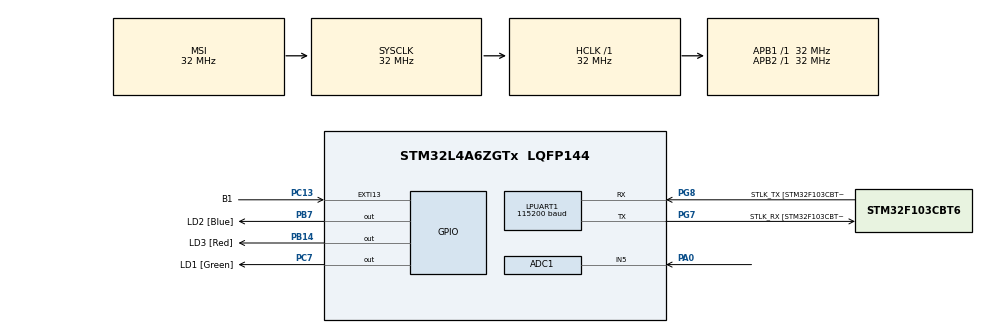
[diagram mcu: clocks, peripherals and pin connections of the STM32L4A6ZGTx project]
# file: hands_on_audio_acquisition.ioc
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LPUART1.AutoBaudRateEnableParam=UART_ADVFEATURE_AUTOBAUDRATE_DISABLE
LPUART1.BaudRate=115200
LPUART1.DMADisableonRxErrorParam=UART_ADVFEATURE_DMA_ENABLEONRXERROR
LPUART1.DataInvertParam=UART_ADVFEATURE_DATAINV_DISABLE
LPUART1.MSBFirstParam=UART_ADVFEATURE_MSBFIRST_DISABLE
LPUART1.Mode=UART_MODE_TX_RX
LPUART1.OneBitSampling=UART_ONE_BIT_SAMPLE_DISABLE
LPUART1.OverrunDisableParam=UART_ADVFEATURE_OVERRUN_ENABLE
LPUART1.Parity=UART_PARITY_NONE
LPUART1.RxPinLevelInvertParam=UART_ADVFEATURE_RXINV_DISABLE
LPUART1.StopBits=UART_STOPBITS_1
LPUART1.SwapParam=UART_ADVFEATURE_SWAP_DISABLE
LPUART1.TxPinLevelInvertParam=UART_ADVFEATURE_TXINV_DISABLE
LPUART1.WordLength=UART_WORDLENGTH_8B
Mcu.Family=STM32L4
Mcu.Name=STM32L4A6ZGTx
Mcu.Package=LQFP144
NVIC.DMA1_Channel1_IRQn=true\:0\:0\:false\:false\:true\:false\:true\:true
NVIC.EXTI15_10_IRQn=true\:0\:0\:false\:false\:true\:true\:true\:true
NVIC.PriorityGroup=NVIC_PRIORITYGROUP_4
PA0.Signal=ADCx_IN5
PA13\ (JTMS/SWDIO).GPIO_Label=TMS
PA13\ (JTMS/SWDIO).Mode=Trace_Asynchronous_SW
PA13\ (JTMS/SWDIO).Signal=SYS_JTMS-SWDIO
PA14\ (JTCK/SWCLK).GPIO_Label=TCK
PA14\ (JTCK/SWCLK).Mode=Trace_Asynchronous_SW
PA14\ (JTCK/SWCLK).Signal=SYS_JTCK-SWCLK
PB14.GPIO_Label=LD3 [Red]
PB14.Signal=GPIO_Output
PB3\ (JTDO/TRACESWO).GPIO_Label=SWO
PB3\ (JTDO/TRACESWO).Mode=Trace_Asynchronous_SW
PB3\ (JTDO/TRACESWO).Signal=SYS_JTDO-SWO
PB7.GPIO_Label=LD2 [Blue]
PB7.Signal=GPIO_Output
PC13.GPIO_Label=B1
PC13.Signal=GPXTI13
PC14-OSC32_IN\ (PC14).Mode=LSE-External-Oscillator
PC14-OSC32_IN\ (PC14).Signal=RCC_OSC32_IN
PC15-OSC32_OUT\ (PC15).Mode=LSE-External-Oscillator
PC15-OSC32_OUT\ (PC15).Signal=RCC_OSC32_OUT
PC7.GPIO_Label=LD1 [Green]
PC7.Signal=GPIO_Output
PG7.GPIO_Label=STLK_RX [STM32F103CBT6_PA3]
PG7.Mode=Asynchronous
PG7.Signal=LPUART1_TX
PG8.GPIO_Label=STLK_TX [STM32F103CBT6_PA2]
PG8.Mode=Asynchronous
PG8.Signal=LPUART1_RX
PH1-OSC_OUT\ (PH1).Signal=RCC_OSC_OUT
ProjectManager.HeapSize=0x200
ProjectManager.StackSize=0x400
ProjectManager.TargetToolchain=STM32CubeIDE
RCC.ADCCLockSelection=RCC_ADCCLKSOURCE_SYSCLK
RCC.ADCFreq_Value=32000000
RCC.AHBFreq_Value=32000000
RCC.APB1Freq_Value=32000000
RCC.APB1TimFreq_Value=32000000
RCC.APB2Freq_Value=32000000
RCC.APB2TimFreq_Value=32000000
RCC.CortexFreq_Value=32000000
RCC.FLatency=FLASH_LATENCY_1
RCC.HCLKFreq_Value=32000000
RCC.HSE_VALUE=8000000
RCC.HSI48_VALUE=48000000
RCC.HSI_VALUE=16000000
RCC.MSIClockRange=RCC_MSIRANGE_10
RCC.MSI_VALUE=32000000
RCC.PLLN=71
RCC.PLLR=RCC_PLLR_DIV6
RCC.PLLSAI1N=24
RCC.SYSCLKFreq_VALUE=32000000
RCC.USBFreq_Value=384000000
RCC.VCOOutputFreq_Value=2272000000
SH.ADCx_IN5.0=ADC1_IN5,IN5-Single-Ended
TIM3.Period=195
TIM3.Prescaler=15
TIM3.TIM_MasterOutputTrigger=TIM_TRGO_UPDATE
VP_TIM3_VS_ClockSourceINT.Mode=Internal
board=NUCLEO-L4A6ZG

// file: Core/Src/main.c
/* USER CODE BEGIN Header */
/**
  ******************************************************************************
  * @file           : main.c
  * @brief          : Main program body
  ******************************************************************************
  * @attention
  *
  * <h2><center>&copy; Copyright (c) 2021 STMicroelectronics.
  * All rights reserved.</center></h2>
  *
  * This software component is licensed by ST under BSD 3-Clause license,
  * the "License"; You may not use this file except in compliance with the
  * License. You may obtain a copy of the License at:
  *                        opensource.org/licenses/BSD-3-Clause
  *
  ******************************************************************************
  */
/* USER CODE END Header */
#include "main.h"
#include "adc.h"
#include "dma.h"
#include "usart.h"
#include "tim.h"
#include "gpio.h"

/* USER CODE BEGIN Includes */
#include <stdio.h>
#include "retarget.h"
/* USER CODE END Includes */

/* USER CODE BEGIN PD */
#define ADC_BUF_SIZE 30000 // before : 256
<<<<<<< HEAD
<<<<<<< HEAD
<<<<<<< HEAD
<<<<<<< HEAD
<<<<<<< HEAD
<<<<<<< HEAD
<<<<<<< HEAD
<<<<<<< HEAD
<<<<<<< HEAD
#define ADC_BUF_SIZE_SEQ 10000 // rapport
#define THRESHOLD 50000
=======
>>>>>>> a568686 (avancement sans colin 🚀)
=======
#define ADC_BUF_SIZE_SEQ 10000 // rapport
#define THRESHOLD 50000
>>>>>>> ae4cc29 (fin h2b 🏄)
=======
>>>>>>> e65878e (avancement sans colin 🚀)
=======
#define ADC_BUF_SIZE_SEQ 10000 // rapport
#define THRESHOLD 50000
>>>>>>> f377759 (fin h2b 🏄)
=======
>>>>>>> 1e441ad (avancement sans colin 🚀)
=======
#define ADC_BUF_SIZE_SEQ 10000 // rapport
#define THRESHOLD 50000
>>>>>>> 754b14e (fin h2b 🏄)
=======
>>>>>>> 556d07c (avancement sans colin 🚀)
=======
#define ADC_BUF_SIZE_SEQ 10000 // rapport
#define THRESHOLD 50000
>>>>>>> 7bcd62f (fin h2b 🏄)
=======
#define ADC_BUF_SIZE_SEQ 10000 // rapport
#define THRESHOLD 50000
>>>>>>> e9d869fc335fa1630213bb1270206efea7efbfa6
/* USER CODE END PD */

/* USER CODE BEGIN PV */
volatile int state;
volatile uint16_t ADCBuffer[2*ADC_BUF_SIZE]; /* ADC group regular conversion data (array of data) */
volatile uint16_t ADCBuffer_SEQ[ADC_BUF_SIZE_SEQ]; // rapport
volatile uint16_t* ADCData1;
volatile uint16_t* ADCData2;

<<<<<<< HEAD
<<<<<<< HEAD
<<<<<<< HEAD
<<<<<<< HEAD
<<<<<<< HEAD
<<<<<<< HEAD
<<<<<<< HEAD
<<<<<<< HEAD
<<<<<<< HEAD
<<<<<<< HEAD
<<<<<<< HEAD
<<<<<<< HEAD
<<<<<<< HEAD
=======
>>>>>>> e9d869fc335fa1630213bb1270206efea7efbfa6
volatile uint8_t active_buffer = 0; // 0 -> Data1 ; 1-> Data2
volatile uint8_t last_sample = 0;	// 1 quand power passe >=50 -> dernier sample

char hex_encoded_buffer[4*ADC_BUF_SIZE+1]; // ADC_BUF_SIZE > ADC_BUF_SIZE_SEQ
<<<<<<< HEAD
<<<<<<< HEAD
<<<<<<< HEAD
<<<<<<< HEAD
<<<<<<< HEAD
<<<<<<< HEAD
<<<<<<< HEAD
=======
=======
volatile uint8_t active_buffer = 0; // 0 -> Data1 ; 1-> Data2
volatile uint8_t last_sample = 0;	// 1 quand power passe >=50 -> dernier sample

>>>>>>> a568686 (avancement sans colin 🚀)
=======
volatile uint8_t active_buffer = 0; // 0 -> Data1 ; 1-> Data2
volatile uint8_t last_sample = 0;	// 1 quand power passe >=50 -> dernier sample

>>>>>>> 74d9a91 (avancement sans colin 🚀)
=======
volatile uint8_t active_buffer = 0; // 0 -> Data1 ; 1-> Data2
volatile uint8_t last_sample = 0;	// 1 quand power passe >=50 -> dernier sample

>>>>>>> 704a8bb (avancement sans colin 🚀)
=======
volatile uint8_t active_buffer = 0; // 0 -> Data1 ; 1-> Data2
volatile uint8_t last_sample = 0;	// 1 quand power passe >=50 -> dernier sample

>>>>>>> e65878e (avancement sans colin 🚀)
=======
volatile uint8_t active_buffer = 0; // 0 -> Data1 ; 1-> Data2
volatile uint8_t last_sample = 0;	// 1 quand power passe >=50 -> dernier sample

>>>>>>> 1e441ad (avancement sans colin 🚀)
=======
volatile uint8_t active_buffer = 0; // 0 -> Data1 ; 1-> Data2
volatile uint8_t last_sample = 0;	// 1 quand power passe >=50 -> dernier sample

>>>>>>> 556d07c (avancement sans colin 🚀)
=======
volatile uint8_t active_buffer = 0; // 0 -> Data1 ; 1-> Data2
volatile uint8_t last_sample = 0;	// 1 quand power passe >=50 -> dernier sample

>>>>>>> ae514d0 (avancement sans colin 🚀)
char hex_encoded_buffer[4*ADC_BUF_SIZE+1];
<<<<<<< HEAD
<<<<<<< HEAD
>>>>>>> 9f4839f (Hands On 2b and a smiley for Mathieu 🤣)
=======
>>>>>>> ae4cc29 (fin h2b 🏄)
=======
char hex_encoded_buffer[4*ADC_BUF_SIZE+1];
>>>>>>> 2479e37 (Hands On 2b and a smiley for Mathieu 🤣)
=======
>>>>>>> 5f2cd98 (fin h2b 🏄)
=======
char hex_encoded_buffer[4*ADC_BUF_SIZE+1];
>>>>>>> 55443d7 (Hands On 2b and a smiley for Mathieu 🤣)
=======
>>>>>>> 1d7321c (fin h2b 🏄)
=======
char hex_encoded_buffer[4*ADC_BUF_SIZE+1];
>>>>>>> 197be3e (Hands On 2b and a smiley for Mathieu 🤣)
=======
>>>>>>> f377759 (fin h2b 🏄)
=======
>>>>>>> b69df25 (Hands On 2b and a smiley for Mathieu 🤣)
=======
>>>>>>> 754b14e (fin h2b 🏄)
=======
>>>>>>> 4677dcc (Hands On 2b and a smiley for Mathieu 🤣)
=======
>>>>>>> 7bcd62f (fin h2b 🏄)
=======
>>>>>>> e9d869fc335fa1630213bb1270206efea7efbfa6
=======
char hex_encoded_buffer[4*ADC_BUF_SIZE+1];
>>>>>>> 795cdad (Hands On 2b and a smiley for Mathieu 🤣)

uint32_t ADC_data = 0;
/* USER CODE END PV */

void SystemClock_Config(void);
/* USER CODE BEGIN PFP */
void hex_encode(char* s, const uint8_t* buf, size_t len);
void print_buffer(uint16_t *buffer);
uint32_t get_signal_power(uint16_t *buffer, size_t len);
/* USER CODE END PFP */

/* USER CODE BEGIN 0 */

void HAL_ADC_ConvCpltCallback(ADC_HandleTypeDef *hadc) {
<<<<<<< HEAD
<<<<<<< HEAD
<<<<<<< HEAD
<<<<<<< HEAD
<<<<<<< HEAD
<<<<<<< HEAD
<<<<<<< HEAD
<<<<<<< HEAD
<<<<<<< HEAD
<<<<<<< HEAD
<<<<<<< HEAD
<<<<<<< HEAD
<<<<<<< HEAD
<<<<<<< HEAD
<<<<<<< HEAD

	/*
	// [SEQUENCE H2B]

	uint32_t power;
	if(active_buffer==0){
		if (last_sample==1){
			print_buffer(ADCData2); // pour dans le bon ordre
			print_buffer(ADCData1);
			HAL_TIM_Base_Stop(&htim3);
			HAL_ADC_Stop_DMA(&hadc1);
		} else {
			active_buffer = 1; // remplir l'autre buffer
			power = get_signal_power(ADCData1,ADC_BUF_SIZE);
			printf("Power (1) : %ld\n",power);
			if(power>=THRESHOLD){last_sample = 1;}
		}
	} else {
		if (last_sample == 1){
			print_buffer(ADCBuffer); // 1 puis 2
			HAL_TIM_Base_Stop(&htim3);
			HAL_ADC_Stop_DMA(&hadc1);
		}
		else{
			active_buffer = 0;
			power = get_signal_power(ADCData2,ADC_BUF_SIZE);
			printf("Power (2): %ld\n",power);
			if(power>=THRESHOLD){last_sample = 1;}
		}
=======
	print_buffer(ADCBuffer);
=======
=======
	print_buffer(ADCBuffer);
=======
=======
	print_buffer(ADCBuffer);
=======
=======
	print_buffer(ADCBuffer);
=======

	/*
	// [SEQUENCE H2B]

	uint32_t power;
	if(active_buffer==0){
		if (last_sample==1){
			print_buffer(ADCData2); // pour dans le bon ordre
			print_buffer(ADCData1);
			HAL_TIM_Base_Stop(&htim3);
			HAL_ADC_Stop_DMA(&hadc1);
		} else {
			active_buffer = 1; // remplir l'autre buffer
			power = get_signal_power(ADCData1,ADC_BUF_SIZE);
			printf("Power (1) : %ld\n",power);
			if(power>=THRESHOLD){last_sample = 1;}
		}
	} else {
		if (last_sample == 1){
			print_buffer(ADCBuffer); // 1 puis 2
			HAL_TIM_Base_Stop(&htim3);
			HAL_ADC_Stop_DMA(&hadc1);
		}
		else{
			active_buffer = 0;
			power = get_signal_power(ADCData2,ADC_BUF_SIZE);
			printf("Power (2): %ld\n",power);
			if(power>=THRESHOLD){last_sample = 1;}
		}
=======
	print_buffer(ADCBuffer);
=======

	/*
	// [SEQUENCE H2B]

	uint32_t power;
	if(active_buffer==0){
		if (last_sample==1){
			print_buffer(ADCData2); // pour dans le bon ordre
			print_buffer(ADCData1);
			HAL_TIM_Base_Stop(&htim3);
			HAL_ADC_Stop_DMA(&hadc1);
		} else {
			active_buffer = 1; // remplir l'autre buffer
			power = get_signal_power(ADCData1,ADC_BUF_SIZE);
			printf("Power (1) : %ld\n",power);
			if(power>=THRESHOLD){last_sample = 1;}
		}
	} else {
		if (last_sample == 1){
			print_buffer(ADCBuffer); // 1 puis 2
			HAL_TIM_Base_Stop(&htim3);
			HAL_ADC_Stop_DMA(&hadc1);
		}
		else{
			active_buffer = 0;
			power = get_signal_power(ADCData2,ADC_BUF_SIZE);
			printf("Power (2): %ld\n",power);
			if(power>=THRESHOLD){last_sample = 1;}
		}
=======
	print_buffer(ADCBuffer);
=======
=======
>>>>>>> e9d869fc335fa1630213bb1270206efea7efbfa6
=======
	print_buffer(ADCBuffer);
=======

	// [Q] Normal de devoir appeler les fonctions HAL_ADC_Start ici ? (pour dernier sample)
	// [Q] Pourquoi refaire un sample et pas juste print celui en cours si power >=50 ?

	uint32_t power;
	if(active_buffer==0){
		power = get_signal_power(ADCData1,ADC_BUF_SIZE);
		printf("Power (1) : %ld\n",power);
		if (power >= 50 && last_sample==0){
			last_sample = 1;
			HAL_ADC_Start_DMA(&hadc1, (uint32_t *)ADCData1, ADC_BUF_SIZE);
		}
		if (last_sample == 1){
			print_buffer(ADCData1);
			active_buffer = 1;
			last_sample = 0;
		}

	} else {
		print_buffer(ADCData2);
		active_buffer = 0;
		power = get_signal_power(ADCData2,ADC_BUF_SIZE);
		printf("Power (2): %ld\n",power);
		if (power >= 50 && last_sample==0){
					last_sample = 1;
					HAL_ADC_Start_DMA(&hadc1, (uint32_t *)ADCData2, ADC_BUF_SIZE);
		}
		if (last_sample == 1){
			print_buffer(ADCData2);
			active_buffer = 0;
			last_sample = 0;
		}
	}

>>>>>>> ae514d0 (avancement sans colin 🚀)
	HAL_TIM_Base_Stop(&htim3);
	HAL_ADC_Stop_DMA(&hadc1);
}
>>>>>>> 795cdad (Hands On 2b and a smiley for Mathieu 🤣)

void HAL_GPIO_EXTI_Callback(uint16_t GPIO_Pin) {
	//printf("Test\n");
	if (GPIO_Pin == B1_Pin) {
//		HAL_ADC_Start(&hadc1);
//		if (HAL_ADC_PollForConversion(&hadc1,0xFFFF) == HAL_OK) {
//			ADC_data = HAL_ADC_GetValue(&hadc1);
//			printf("%d \n", ADC_data);
//		}
//		HAL_ADC_Stop(&hadc1);

		HAL_TIM_Base_Start(&htim3);
		//HAL_ADC_Start_DMA(&hadc1, (uint32_t *)ADCBuffer, 2*ADC_BUF_SIZE);
		if(active_buffer == 0){
			HAL_ADC_Start_DMA(&hadc1, (uint32_t *)ADCData1, ADC_BUF_SIZE);
		} else{
			HAL_ADC_Start_DMA(&hadc1, (uint32_t *)ADCData2, ADC_BUF_SIZE);
		}

	}
	*/

<<<<<<< HEAD
<<<<<<< HEAD
>>>>>>> 556d07c (avancement sans colin 🚀)
=======

	// [SEQUENCE RAPPORT]

	HAL_GPIO_WritePin(LD2_GPIO_Port, LD2_Pin, GPIO_PIN_SET); // LED s'allume
	print_buffer(ADCBuffer_SEQ);
	HAL_GPIO_WritePin(LD2_GPIO_Port, LD2_Pin, GPIO_PIN_RESET); // LED s'arrête
>>>>>>> 7bcd62f (fin h2b 🏄)
	HAL_TIM_Base_Stop(&htim3);
	HAL_ADC_Stop_DMA(&hadc1);

}

void HAL_GPIO_EXTI_Callback(uint16_t GPIO_Pin) {
	//printf("Test\n");
	// [DEMO!]
	/*
	// [CONSTANT INPUT]
	if (GPIO_Pin == B1_Pin) {
//		HAL_ADC_Start(&hadc1);
//		if (HAL_ADC_PollForConversion(&hadc1,0xFFFF) == HAL_OK) {
//			ADC_data = HAL_ADC_GetValue(&hadc1);
//			printf("%d \n", ADC_data);
//		}
//		HAL_ADC_Stop(&hadc1);

		*/

	/*
	// [SINGLE BUFFER + DOUBLE]
	if (GPIO_Pin == B1_Pin) {
		HAL_TIM_Base_Start(&htim3);
<<<<<<< HEAD
<<<<<<< HEAD
		HAL_ADC_Start_DMA(&hadc1, (uint32_t *)ADCBuffer, ADC_BUF_SIZE);
>>>>>>> 4677dcc (Hands On 2b and a smiley for Mathieu 🤣)
=======
		//HAL_ADC_Start_DMA(&hadc1, (uint32_t *)ADCBuffer, 2*ADC_BUF_SIZE);
		if(active_buffer == 0){
			HAL_ADC_Start_DMA(&hadc1, (uint32_t *)ADCData1, ADC_BUF_SIZE);
		} else{
			HAL_ADC_Start_DMA(&hadc1, (uint32_t *)ADCData2, ADC_BUF_SIZE);
		}

>>>>>>> 556d07c (avancement sans colin 🚀)
	}
	*/

<<<<<<< HEAD
>>>>>>> 1e441ad (avancement sans colin 🚀)
=======

	// [SEQUENCE RAPPORT]

	HAL_GPIO_WritePin(LD2_GPIO_Port, LD2_Pin, GPIO_PIN_SET); // LED s'allume
	print_buffer(ADCBuffer_SEQ);
	HAL_GPIO_WritePin(LD2_GPIO_Port, LD2_Pin, GPIO_PIN_RESET); // LED s'arrête
>>>>>>> 754b14e (fin h2b 🏄)
	HAL_TIM_Base_Stop(&htim3);
	HAL_ADC_Stop_DMA(&hadc1);

}

void HAL_GPIO_EXTI_Callback(uint16_t GPIO_Pin) {
	//printf("Test\n");
	// [DEMO!]
	/*
	// [CONSTANT INPUT]
	if (GPIO_Pin == B1_Pin) {
//		HAL_ADC_Start(&hadc1);
//		if (HAL_ADC_PollForConversion(&hadc1,0xFFFF) == HAL_OK) {
//			ADC_data = HAL_ADC_GetValue(&hadc1);
//			printf("%d \n", ADC_data);
//		}
//		HAL_ADC_Stop(&hadc1);

		*/

	/*
	// [SINGLE BUFFER + DOUBLE]
	if (GPIO_Pin == B1_Pin) {
		HAL_TIM_Base_Start(&htim3);
<<<<<<< HEAD
<<<<<<< HEAD
		HAL_ADC_Start_DMA(&hadc1, (uint32_t *)ADCBuffer, ADC_BUF_SIZE);
>>>>>>> b69df25 (Hands On 2b and a smiley for Mathieu 🤣)
=======
		//HAL_ADC_Start_DMA(&hadc1, (uint32_t *)ADCBuffer, 2*ADC_BUF_SIZE);
		if(active_buffer == 0){
			HAL_ADC_Start_DMA(&hadc1, (uint32_t *)ADCData1, ADC_BUF_SIZE);
		} else{
			HAL_ADC_Start_DMA(&hadc1, (uint32_t *)ADCData2, ADC_BUF_SIZE);
		}

>>>>>>> 1e441ad (avancement sans colin 🚀)
	}
<<<<<<< HEAD

>>>>>>> e65878e (avancement sans colin 🚀)
	HAL_TIM_Base_Stop(&htim3);
	HAL_ADC_Stop_DMA(&hadc1);
}
>>>>>>> 197be3e (Hands On 2b and a smiley for Mathieu 🤣)

void HAL_GPIO_EXTI_Callback(uint16_t GPIO_Pin) {
	//printf("Test\n");
	if (GPIO_Pin == B1_Pin) {
//		HAL_ADC_Start(&hadc1);
//		if (HAL_ADC_PollForConversion(&hadc1,0xFFFF) == HAL_OK) {
//			ADC_data = HAL_ADC_GetValue(&hadc1);
//			printf("%d \n", ADC_data);
//		}
//		HAL_ADC_Stop(&hadc1);

		HAL_TIM_Base_Start(&htim3);
		//HAL_ADC_Start_DMA(&hadc1, (uint32_t *)ADCBuffer, 2*ADC_BUF_SIZE);
=======
		// HAL_ADC_Start_DMA(&hadc1, (uint32_t *)ADCBuffer, 2*ADC_BUF_SIZE); // Single
>>>>>>> 754b14e (fin h2b 🏄)
		if(active_buffer == 0){
			HAL_ADC_Start_DMA(&hadc1, (uint32_t *)ADCData1, ADC_BUF_SIZE);
		} else{
			HAL_ADC_Start_DMA(&hadc1, (uint32_t *)ADCData2, ADC_BUF_SIZE);
		}

	}
<<<<<<< HEAD
<<<<<<< HEAD

>>>>>>> 704a8bb (avancement sans colin 🚀)
	HAL_TIM_Base_Stop(&htim3);
	HAL_ADC_Stop_DMA(&hadc1);
}
>>>>>>> 55443d7 (Hands On 2b and a smiley for Mathieu 🤣)

void HAL_GPIO_EXTI_Callback(uint16_t GPIO_Pin) {
	//printf("Test\n");
	if (GPIO_Pin == B1_Pin) {
//		HAL_ADC_Start(&hadc1);
//		if (HAL_ADC_PollForConversion(&hadc1,0xFFFF) == HAL_OK) {
//			ADC_data = HAL_ADC_GetValue(&hadc1);
//			printf("%d \n", ADC_data);
//		}
//		HAL_ADC_Stop(&hadc1);

		HAL_TIM_Base_Start(&htim3);
		//HAL_ADC_Start_DMA(&hadc1, (uint32_t *)ADCBuffer, 2*ADC_BUF_SIZE);
=======
		// HAL_ADC_Start_DMA(&hadc1, (uint32_t *)ADCBuffer, 2*ADC_BUF_SIZE); // Single
>>>>>>> 7bcd62f (fin h2b 🏄)
		if(active_buffer == 0){
			HAL_ADC_Start_DMA(&hadc1, (uint32_t *)ADCData1, ADC_BUF_SIZE);
		} else{
			HAL_ADC_Start_DMA(&hadc1, (uint32_t *)ADCData2, ADC_BUF_SIZE);
		}

	}
<<<<<<< HEAD
<<<<<<< HEAD

>>>>>>> 74d9a91 (avancement sans colin 🚀)
	HAL_TIM_Base_Stop(&htim3);
	HAL_ADC_Stop_DMA(&hadc1);
}
>>>>>>> 2479e37 (Hands On 2b and a smiley for Mathieu 🤣)

void HAL_GPIO_EXTI_Callback(uint16_t GPIO_Pin) {
	//printf("Test\n");
	if (GPIO_Pin == B1_Pin) {
//		HAL_ADC_Start(&hadc1);
//		if (HAL_ADC_PollForConversion(&hadc1,0xFFFF) == HAL_OK) {
//			ADC_data = HAL_ADC_GetValue(&hadc1);
//			printf("%d \n", ADC_data);
//		}
//		HAL_ADC_Stop(&hadc1);

		HAL_TIM_Base_Start(&htim3);
		//HAL_ADC_Start_DMA(&hadc1, (uint32_t *)ADCBuffer, 2*ADC_BUF_SIZE);
		if(active_buffer == 0){
			HAL_ADC_Start_DMA(&hadc1, (uint32_t *)ADCData1, ADC_BUF_SIZE);
		} else{
			HAL_ADC_Start_DMA(&hadc1, (uint32_t *)ADCData2, ADC_BUF_SIZE);
		}

	}
=======
>>>>>>> 5f2cd98 (fin h2b 🏄)
	*/

<<<<<<< HEAD
>>>>>>> a568686 (avancement sans colin 🚀)
=======

	// [SEQUENCE RAPPORT]

	HAL_GPIO_WritePin(LD2_GPIO_Port, LD2_Pin, GPIO_PIN_SET); // LED s'allume
	print_buffer(ADCBuffer_SEQ);
	HAL_GPIO_WritePin(LD2_GPIO_Port, LD2_Pin, GPIO_PIN_RESET); // LED s'arrête
>>>>>>> ae4cc29 (fin h2b 🏄)
	HAL_TIM_Base_Stop(&htim3);
	HAL_ADC_Stop_DMA(&hadc1);

}

void HAL_GPIO_EXTI_Callback(uint16_t GPIO_Pin) {
	//printf("Test\n");
	// [DEMO!]
	/*
	// [CONSTANT INPUT]
	if (GPIO_Pin == B1_Pin) {
//		HAL_ADC_Start(&hadc1);
//		if (HAL_ADC_PollForConversion(&hadc1,0xFFFF) == HAL_OK) {
//			ADC_data = HAL_ADC_GetValue(&hadc1);
//			printf("%d \n", ADC_data);
//		}
//		HAL_ADC_Stop(&hadc1);

		*/

	/*
	// [SINGLE BUFFER + DOUBLE]
	if (GPIO_Pin == B1_Pin) {
		HAL_TIM_Base_Start(&htim3);
<<<<<<< HEAD
<<<<<<< HEAD
		HAL_ADC_Start_DMA(&hadc1, (uint32_t *)ADCBuffer, ADC_BUF_SIZE);
>>>>>>> 9f4839f (Hands On 2b and a smiley for Mathieu 🤣)
=======
		//HAL_ADC_Start_DMA(&hadc1, (uint32_t *)ADCBuffer, 2*ADC_BUF_SIZE);
=======
		// HAL_ADC_Start_DMA(&hadc1, (uint32_t *)ADCBuffer, 2*ADC_BUF_SIZE); // Single
>>>>>>> ae4cc29 (fin h2b 🏄)
		if(active_buffer == 0){
			HAL_ADC_Start_DMA(&hadc1, (uint32_t *)ADCData1, ADC_BUF_SIZE);
		} else{
			HAL_ADC_Start_DMA(&hadc1, (uint32_t *)ADCData2, ADC_BUF_SIZE);
		}

>>>>>>> a568686 (avancement sans colin 🚀)
	}
=======
>>>>>>> 1d7321c (fin h2b 🏄)
=======
>>>>>>> f377759 (fin h2b 🏄)
	*/

<<<<<<< HEAD
=======

>>>>>>> e9d869fc335fa1630213bb1270206efea7efbfa6

	// [SEQUENCE RAPPORT]

	HAL_GPIO_WritePin(LD2_GPIO_Port, LD2_Pin, GPIO_PIN_SET); // LED s'allume
	print_buffer(ADCBuffer_SEQ);
	HAL_GPIO_WritePin(LD2_GPIO_Port, LD2_Pin, GPIO_PIN_RESET); // LED s'arrête
	HAL_TIM_Base_Stop(&htim3);
	HAL_ADC_Stop_DMA(&hadc1);

}

void HAL_GPIO_EXTI_Callback(uint16_t GPIO_Pin) {
	//printf("Test\n");
	// [DEMO!]
	/*
	// [CONSTANT INPUT]
	if (GPIO_Pin == B1_Pin) {
//		HAL_ADC_Start(&hadc1);
//		if (HAL_ADC_PollForConversion(&hadc1,0xFFFF) == HAL_OK) {
//			ADC_data = HAL_ADC_GetValue(&hadc1);
//			printf("%d \n", ADC_data);
//		}
//		HAL_ADC_Stop(&hadc1);

		*/

	/*
	// [SINGLE BUFFER + DOUBLE]
	if (GPIO_Pin == B1_Pin) {
		HAL_TIM_Base_Start(&htim3);
		// HAL_ADC_Start_DMA(&hadc1, (uint32_t *)ADCBuffer, 2*ADC_BUF_SIZE); // Single
		if(active_buffer == 0){
			HAL_ADC_Start_DMA(&hadc1, (uint32_t *)ADCData1, ADC_BUF_SIZE);
		} else{
			HAL_ADC_Start_DMA(&hadc1, (uint32_t *)ADCData2, ADC_BUF_SIZE);
		}

	}
	*/

<<<<<<< HEAD
=======
>>>>>>> ae4cc29 (fin h2b 🏄)
=======
	*/

>>>>>>> 754b14e (fin h2b 🏄)
=======
	*/

>>>>>>> 7bcd62f (fin h2b 🏄)
=======
>>>>>>> e9d869fc335fa1630213bb1270206efea7efbfa6
	// [SEQUENCE RAPPORT]
	if (GPIO_Pin == B1_Pin) {
		HAL_TIM_Base_Start(&htim3);
		HAL_ADC_Start_DMA(&hadc1, (uint32_t *)ADCBuffer_SEQ, ADC_BUF_SIZE_SEQ);
	}

}

void hex_encode(char* s, const uint8_t* buf, size_t len) {
    s[2*len] = '\0'; // A string terminated by a zero char.
    for (size_t i=0; i<len; i++) {
        s[i*2] = "0123456789abcdef"[buf[i] >> 4];
        s[i*2+1] = "0123456789abcdef"[buf[i] & 0xF];
    }
}

void print_buffer(uint16_t *buffer) {
	/*
	// [SEQUENCE H2B]
	hex_encode(hex_encoded_buffer, (uint8_t*)buffer, 2*ADC_BUF_SIZE);
	printf("SND:HEX:%s\r\n", hex_encoded_buffer);
	*/

	// [SEQUENCE RAPPORT]
	hex_encode(hex_encoded_buffer, (uint8_t*)buffer, 2*ADC_BUF_SIZE_SEQ);
	printf("SND:HEX:%s\r\n", hex_encoded_buffer);

}

uint32_t get_signal_power(uint16_t *buffer, size_t len){
	uint64_t sum = 0;
	uint64_t sum2 = 0;
	for (size_t i=0; i<len; i++) {
		sum += (uint64_t) buffer[i];
		sum2 += (uint64_t) buffer[i]*(uint64_t) buffer[i];
	}
	return (uint32_t)(sum2/len - sum*sum/len/len);
}
/* USER CODE END 0 */

int main(void)
{

  /* MCU Configuration--------------------------------------------------------*/

  /* Reset of all peripherals, Initializes the Flash interface and the Systick. */
  HAL_Init();

  /* Configure the system clock */
  SystemClock_Config();

  /* Initialize all configured peripherals */
  MX_GPIO_Init();
  MX_DMA_Init();
  MX_LPUART1_UART_Init();
  MX_ADC1_Init();
  MX_TIM3_Init();
  /* USER CODE BEGIN 2 */
  RetargetInit(&hlpuart1);
<<<<<<< HEAD
<<<<<<< HEAD
<<<<<<< HEAD
<<<<<<< HEAD
<<<<<<< HEAD
<<<<<<< HEAD
<<<<<<< HEAD
<<<<<<< HEAD
<<<<<<< HEAD
<<<<<<< HEAD
<<<<<<< HEAD
<<<<<<< HEAD
<<<<<<< HEAD
<<<<<<< HEAD
  printf("Hello from group H :) !\r\n");
=======
  printf("Hello from group H :)))!\r\n");
>>>>>>> a568686 (avancement sans colin 🚀)
=======
  printf("Hello from group H :) !\r\n");
>>>>>>> ae4cc29 (fin h2b 🏄)
=======
  printf("Hello from group H :)))!\r\n");
>>>>>>> 74d9a91 (avancement sans colin 🚀)
=======
  printf("Hello from group H :) !\r\n");
>>>>>>> 5f2cd98 (fin h2b 🏄)
=======
  printf("Hello from group H :)))!\r\n");
>>>>>>> 704a8bb (avancement sans colin 🚀)
=======
  printf("Hello from group H :) !\r\n");
>>>>>>> 1d7321c (fin h2b 🏄)
=======
  printf("Hello from group H :)))!\r\n");
>>>>>>> e65878e (avancement sans colin 🚀)
=======
  printf("Hello from group H :) !\r\n");
>>>>>>> f377759 (fin h2b 🏄)
=======
  printf("Hello from group H :)))!\r\n");
>>>>>>> 1e441ad (avancement sans colin 🚀)
=======
  printf("Hello from group H :) !\r\n");
>>>>>>> 754b14e (fin h2b 🏄)
=======
  printf("Hello from group H :)))!\r\n");
>>>>>>> 556d07c (avancement sans colin 🚀)
=======
  printf("Hello from group H :) !\r\n");
>>>>>>> 7bcd62f (fin h2b 🏄)
=======
  printf("Hello from group H :) !\r\n");
>>>>>>> e9d869fc335fa1630213bb1270206efea7efbfa6
=======
  printf("Hello from group H :)))!\r\n");
>>>>>>> ae514d0 (avancement sans colin 🚀)
  state=0;
  ADCData1 = &ADCBuffer[0];
  ADCData2 = &ADCBuffer[ADC_BUF_SIZE];
  /* USER CODE END 2 */

  /* Infinite loop */
  /* USER CODE BEGIN WHILE */
  while (1)
  {
	/*
	// [CLIGNOTEMENT LED]
	HAL_GPIO_WritePin(LD2_GPIO_Port, LD2_Pin, GPIO_PIN_SET);
	HAL_Delay(500);
	HAL_GPIO_WritePin(LD2_GPIO_Port, LD2_Pin, GPIO_PIN_RESET);
	HAL_Delay(500);
	*/

	__WFI(); // Séquence Rapport

    /* USER CODE END WHILE */

  }
}

void SystemClock_Config(void)
{
  RCC_OscInitTypeDef RCC_OscInitStruct = {0};
  RCC_ClkInitTypeDef RCC_ClkInitStruct = {0};

  /** Configure the main internal regulator output voltage
  */
  if (HAL_PWREx_ControlVoltageScaling(PWR_REGULATOR_VOLTAGE_SCALE1) != HAL_OK)
  {
    Error_Handler();
  }

  /** Initializes the RCC Oscillators according to the specified parameters
  * in the RCC_OscInitTypeDef structure.
  */
  RCC_OscInitStruct.OscillatorType = RCC_OSCILLATORTYPE_MSI;
  RCC_OscInitStruct.MSIState = RCC_MSI_ON;
  RCC_OscInitStruct.MSICalibrationValue = 0;
  RCC_OscInitStruct.MSIClockRange = RCC_MSIRANGE_10;
  RCC_OscInitStruct.PLL.PLLState = RCC_PLL_NONE;
  if (HAL_RCC_OscConfig(&RCC_OscInitStruct) != HAL_OK)
  {
    Error_Handler();
  }

  /** Initializes the CPU, AHB and APB buses clocks
  */
  RCC_ClkInitStruct.ClockType = RCC_CLOCKTYPE_HCLK|RCC_CLOCKTYPE_SYSCLK
                              |RCC_CLOCKTYPE_PCLK1|RCC_CLOCKTYPE_PCLK2;
  RCC_ClkInitStruct.SYSCLKSource = RCC_SYSCLKSOURCE_MSI;
  RCC_ClkInitStruct.AHBCLKDivider = RCC_SYSCLK_DIV1;
  RCC_ClkInitStruct.APB1CLKDivider = RCC_HCLK_DIV1;
  RCC_ClkInitStruct.APB2CLKDivider = RCC_HCLK_DIV1;

  if (HAL_RCC_ClockConfig(&RCC_ClkInitStruct, FLASH_LATENCY_1) != HAL_OK)
  {
    Error_Handler();
  }
}

void Error_Handler(void)
{
  __disable_irq();
  while (1)
  {
  }
}
